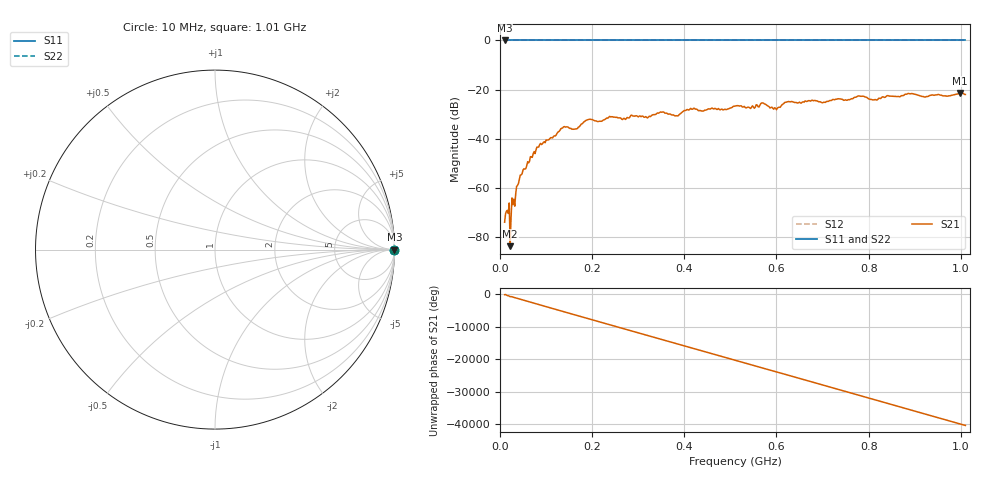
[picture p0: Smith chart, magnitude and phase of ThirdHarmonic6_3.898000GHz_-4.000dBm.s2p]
! 8/17/2025 1:42:14 PM
! C:\ANRITSUVNA\TEMP\TEMP.S2P
! CHANNEL.1
! TR.MEASUREMENT
! RAW.DATA
! RF.CORRECTION.OFF
! AVERAGING.OFF
! IF.BANDWIDTH: 5KHZ
! SWEEPTYPE:  FREQ.SWEEP(Linear)
! Reference Plane Port Info
! PORT:  PORT1  PORT2
! DISTANCE:  0  m  0  m
! TIME:  0  s  0  s
! PHASE.OFFSET:  0  deg.  0  deg.
! LOSS:  0  dB  0  dB
! REF.LOSS:  0  dB  0  dB
! REF.FREQ:  0  Hz  0  Hz
! Power Info
! POWER:  -20  dBm  -20  dBm
! EFF.POWER:  -20  dBm  -20  dBm
! SOURCE.ATTEN:  0  dB  0  dB
! TEST.ATTEN:  0  dB  0  dB
# GHZ S RI R 50.0
! FREQ.GHZ  S11RE  S11IM  S21RE  S21IM  S12RE  S12IM  S22RE  S22IM
!; PortSelection: Port_12
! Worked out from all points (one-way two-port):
!   501 points, 10 MHz to 1.01 GHz, reference 50 ohm
!   highest |S21| = -21.34 dB at 998 MHz (marker M1); lowest = -83.7 dB at 22 MHz (marker M2)
!   lowest |S11| = 0.0 dB at 10 MHz (marker M3)
!   |S11| at or under -10 dB: nowhere
!   |S22| runs from 0.0 to 0.0 dB; largest |S21 - S12| = 1.1
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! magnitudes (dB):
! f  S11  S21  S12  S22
! 10 MHz  0.0  -74.0  0.0  0.0
! 16 MHz  0.0  -69.1  0.0  0.0
! 20 MHz  0.0  -66.1  0.0  0.0
! 22 MHz  0.0  -83.7  0.0  0.0
! 26 MHz  0.0  -64.1  0.0  0.0
! 40 MHz  0.0  -58.2  0.0  0.0
! 46 MHz  0.0  -54.7  0.0  0.0
! 84 MHz  0.0  -43.4  0.0  0.0
! 136 MHz  0.0  -35.6  0.0  0.0
! 164 MHz  0.0  -36.0  0.0  0.0
! 178 MHz  0.0  -33.9  0.0  0.0
! 344 MHz  0.0  -29.6  0.0  0.0
! 384 MHz  0.0  -30.7  0.0  0.0
! 418 MHz  0.0  -28.0  0.0  0.0
! 510 MHz  0.0  -26.7  0.0  0.0
! 570 MHz  0.0  -25.4  0.0  0.0
! 598 MHz  0.0  -27.6  0.0  0.0
! 622 MHz  0.0  -25.0  0.0  0.0
! 678 MHz  0.0  -24.3  0.0  0.0
! 844 MHz  0.0  -22.6  0.0  0.0
! 998 MHz  0.0  -21.3  0.0  0.0
! 1.01 GHz  0.0  -22.0  0.0  0.0
